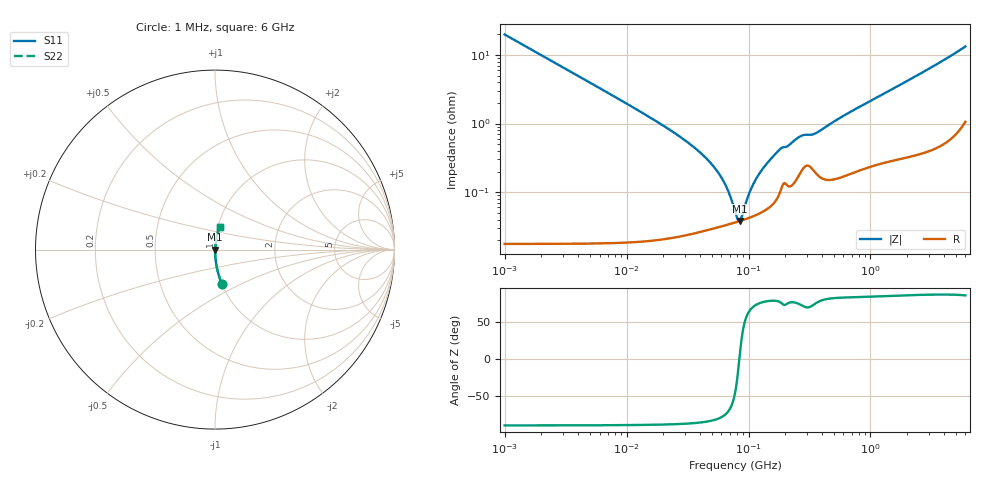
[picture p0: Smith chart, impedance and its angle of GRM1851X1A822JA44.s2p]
!Murata Part Number: GRM1851X1A822JA44
!These Parameters are Measured in Series Mode Connection
!Data Generated on Mar 30, 2021
!  o--ll--o
!Port1  Port2
!  o------o
!Operation Temp=25[degC], DC Bias Voltage=0[V]
!Freq. Start=1000[kHz] Stop=6[GHz] 401[Steps]
# Hz S RI R 50
!Freq.(Hz) S11(Real) S11(Imag) S21(Real) S21(Imag) S12(Real) S12(Imag) S22(Real) S22(Imag)
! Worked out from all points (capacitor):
!   401 points, 1 MHz to 6 GHz, reference 50 ohm
!   read as one part in series: C = 8.01 nF near 1.044 MHz
!   lowest |Z| = 38 mohm at 84.5 MHz (marker M1)
!   series resonance near 84.14 MHz, so ESL is about 450 pH
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1000000  0.0381 -0.191  0.9619 0.191  0.9619 0.191  0.0381 -0.191
1962487  0.0103 -0.1001  0.9897 0.1001  0.9897 0.1001  0.0103 -0.1001
4293785  0.0023 -0.046  0.9977 0.046  0.9977 0.046  0.0023 -0.046
1.843659e7  0.000306 -0.0102  0.9997 0.0102  0.9997 0.0102  0.000306 -0.0102
3.389622e7  0.000269 -0.00486  0.9997 0.00486  0.9997 0.00486  0.000269 -0.00486
5.013812e7  0.000298 -0.00252  0.9997 0.00252  0.9997 0.00252  0.000298 -0.00252
5.838291e7  0.000317 -0.00173  0.9997 0.00173  0.9997 0.00173  0.000317 -0.00173
6.508975e7  0.000332 -0.0012  0.9997 0.0012  0.9997 0.0012  0.000332 -0.0012
7.100585e7  0.000346 -0.00079  0.9997 0.00079  0.9997 0.00079  0.000346 -0.00079
7.745967e7  0.000362 -0.000384  0.9996 0.000384  0.9996 0.000384  0.000362 -0.000384
8.090333e7  0.000371 -0.000182  0.9996 0.000182  0.9996 0.000182  0.000371 -0.000182
8.450008e7  0.00038 1.99e-05  0.9996 -1.99e-05  0.9996 -1.99e-05  0.00038 1.99e-05
8.825674e7  0.000389 0.000222  0.9996 -0.000222  0.9996 -0.000222  0.000389 0.000222
1.005588e8  0.000422 0.000832  0.9996 -0.000832  0.9996 -0.000832  0.000422 0.000832
1.096987e8  0.000449 0.00125  0.9996 -0.00125  0.9996 -0.00125  0.000449 0.00125
1.249896e8  0.000501 0.0019  0.9995 -0.0019  0.9995 -0.0019  0.000501 0.0019
1.455431e8  0.000594 0.00272  0.9994 -0.00272  0.9994 -0.00272  0.000594 0.00272
1.809028e8  0.00101 0.0041  0.999 -0.0041  0.999 -0.0041  0.00101 0.0041
2.561955e8  0.00173 0.00602  0.9983 -0.00602  0.9983 -0.00602  0.00173 0.00602
3.325952e8  0.00223 0.00653  0.9978 -0.00653  0.9978 -0.00653  0.00223 0.00653
1.428092e9  0.00368 0.0298  0.9963 -0.0298  0.9963 -0.0298  0.00368 0.0298
6e9  0.0272 0.1274  0.9728 -0.1274  0.9728 -0.1274  0.0272 0.1274
